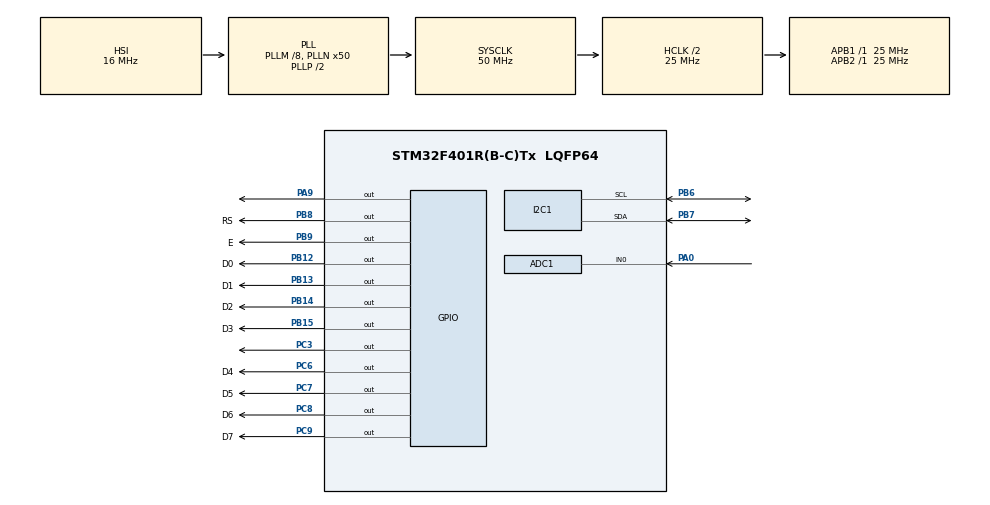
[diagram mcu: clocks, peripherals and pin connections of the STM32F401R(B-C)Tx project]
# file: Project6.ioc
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Mcu.Family=STM32F4
RCC.CortexFreq_Value=25000000
ADC1.Rank-0\#ChannelRegularConversion=1
PB9.GPIO_Label=E
PC9.GPIO_Label=D7
PB14.GPIO_Label=D2
PC8.Signal=GPIO_Output
PC6.Signal=GPIO_Output
PC6.GPIO_Label=D4
PB13.GPIO_Label=D1
PB15.Signal=GPIO_Output
PB13.Signal=GPIO_Output
RCC.SYSCLKSource=RCC_SYSCLKSOURCE_PLLCLK
ProjectManager.StackSize=0x400
PC3.PinState=GPIO_PIN_SET
PA0-WKUP.Signal=ADCx_IN0
PC8.GPIO_Label=D6
PB8.GPIO_Label=RS
ProjectManager.TargetToolchain=STM32CubeIDE
RCC.HCLKFreq_Value=25000000
RCC.APB2TimFreq_Value=25000000
PA9.Signal=GPIO_Output
PB6.Signal=I2C1_SCL
PC7.Signal=GPIO_Output
PB6.Mode=I2C
PC3.Signal=GPIO_Output
RCC.LSE_VALUE=32768
RCC.AHBFreq_Value=25000000
PB14.Signal=GPIO_Output
ADC1.Channel-0\#ChannelRegularConversion=ADC_CHANNEL_0
RCC.HSE_VALUE=25000000
board=custom
RCC.VCOOutputFreq_Value=100000000
PB12.GPIO_Label=D0
RCC.APB2Freq_Value=25000000
PB15.GPIO_Label=D3
PB7.Signal=I2C1_SDA
RCC.AHBCLKDivider=RCC_SYSCLK_DIV2
SH.ADCx_IN0.0=ADC1_IN0,IN0
Mcu.Name=STM32F401R(B-C)Tx
ADC1.SamplingTime-0\#ChannelRegularConversion=ADC_SAMPLETIME_3CYCLES
PC7.GPIO_Label=D5
RCC.48MHZClocksFreq_Value=25000000
RCC.SYSCLKFreq_VALUE=50000000
Mcu.Package=LQFP64
PB9.Signal=GPIO_Output
ADC1.master=1
PB7.Mode=I2C
ProjectManager.HeapSize=0x200
RCC.HSI_VALUE=16000000
NVIC.PriorityGroup=NVIC_PRIORITYGROUP_4
ADC1.NbrOfConversionFlag=1
RCC.PLLM=8
RCC.PLLN=50
RCC.APB1TimFreq_Value=25000000
PB8.Signal=GPIO_Output
PC9.Signal=GPIO_Output
RCC.APB1Freq_Value=25000000
PB12.Signal=GPIO_Output

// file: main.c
/* USER CODE BEGIN Header */
/**
  ******************************************************************************
  * @file           : main.c
  * @brief          : Main program body
  ******************************************************************************
  * @attention
  *
  * <h2><center>&copy; Copyright (c) 2021 STMicroelectronics.
  * All rights reserved.</center></h2>
  *
  * This software component is licensed by ST under BSD 3-Clause license,
  * the "License"; You may not use this file except in compliance with the
  * License. You may obtain a copy of the License at:
  *                        opensource.org/licenses/BSD-3-Clause
  *
  ******************************************************************************
  */
/* USER CODE END Header */
#include "main.h"

/* USER CODE BEGIN Includes */
#include "STM_MY_LCD16X2.h"
#include <math.h>
#include <stdint.h>
#include <stdio.h>
#include "stm32f4xx_hal.h"
//#include "STM_MY_LCD16X2.c"
/* USER CODE END Includes */

/* USER CODE BEGIN PD */
#define TC74_ADDRESS 0xA5
/* USER CODE END PD */

ADC_HandleTypeDef hadc1;

I2C_HandleTypeDef hi2c1;

/* USER CODE BEGIN PV */
uint16_t raw;
uint8_t i2cBuf[8];
double x;
double y;
unsigned char temp;
/* USER CODE END PV */

void SystemClock_Config(void);
static void MX_GPIO_Init(void);
static void MX_ADC1_Init(void);
static void MX_I2C1_Init(void);

int main(void)
{

  /* MCU Configuration--------------------------------------------------------*/

  /* Reset of all peripherals, Initializes the Flash interface and the Systick. */
  HAL_Init();

  /* USER CODE BEGIN Init */
  //1. Scan the I2C addresses
  	for(uint8_t i=0; i<255; i++)
  	{
  		if(HAL_I2C_IsDeviceReady(&hi2c1, i, 1, 10) == HAL_OK)
  		{
  			HAL_GPIO_TogglePin(GPIOD, GPIO_PIN_12);
  			break;
  		}
  	}
  /* USER CODE END Init */

  /* Configure the system clock */
  SystemClock_Config();

  /* Initialize all configured peripherals */
  MX_GPIO_Init();
  MX_ADC1_Init();
  MX_I2C1_Init();

  /* Infinite loop */
  /* USER CODE BEGIN WHILE */
  while (1)
  {
	  		//Request to read from a register
	  		i2cBuf[0] = 0x3B;			//Register address: X_axis H
	  		HAL_I2C_Master_Transmit(&hi2c1, TC74_ADDRESS, 0x00, 1, 10);
	  		//Read data
	  		i2cBuf[1] = 0x00;
	  		HAL_I2C_Master_Receive(&hi2c1, TC74_ADDRESS, &i2cBuf[1], 6, 10);
		  		LCD1602_Begin8BIT(RS_GPIO_Port, RS_Pin, E_Pin, D0_GPIO_Port, D0_Pin, D1_Pin, D2_Pin, D3_Pin, D4_GPIO_Port, D4_Pin, D5_Pin, D6_Pin, D7_Pin);
		  		LCD1602_PrintInt(i2cBuf[1]);
		  		LCD1602_2ndLine();
		  		LCD1602_PrintInt(i2cBuf[2]);
		  		HAL_Delay(200);
    /* USER CODE END WHILE */

  }
}

void SystemClock_Config(void)
{
  RCC_OscInitTypeDef RCC_OscInitStruct = {0};
  RCC_ClkInitTypeDef RCC_ClkInitStruct = {0};

  /** Configure the main internal regulator output voltage
  */
  __HAL_RCC_PWR_CLK_ENABLE();
  __HAL_PWR_VOLTAGESCALING_CONFIG(PWR_REGULATOR_VOLTAGE_SCALE2);
  /** Initializes the RCC Oscillators according to the specified parameters
  * in the RCC_OscInitTypeDef structure.
  */
  RCC_OscInitStruct.OscillatorType = RCC_OSCILLATORTYPE_HSI;
  RCC_OscInitStruct.HSIState = RCC_HSI_ON;
  RCC_OscInitStruct.HSICalibrationValue = RCC_HSICALIBRATION_DEFAULT;
  RCC_OscInitStruct.PLL.PLLState = RCC_PLL_ON;
  RCC_OscInitStruct.PLL.PLLSource = RCC_PLLSOURCE_HSI;
  RCC_OscInitStruct.PLL.PLLM = 8;
  RCC_OscInitStruct.PLL.PLLN = 50;
  RCC_OscInitStruct.PLL.PLLP = RCC_PLLP_DIV2;
  RCC_OscInitStruct.PLL.PLLQ = 4;
  if (HAL_RCC_OscConfig(&RCC_OscInitStruct) != HAL_OK)
  {
    Error_Handler();
  }
  /** Initializes the CPU, AHB and APB buses clocks
  */
  RCC_ClkInitStruct.ClockType = RCC_CLOCKTYPE_HCLK|RCC_CLOCKTYPE_SYSCLK
                              |RCC_CLOCKTYPE_PCLK1|RCC_CLOCKTYPE_PCLK2;
  RCC_ClkInitStruct.SYSCLKSource = RCC_SYSCLKSOURCE_PLLCLK;
  RCC_ClkInitStruct.AHBCLKDivider = RCC_SYSCLK_DIV2;
  RCC_ClkInitStruct.APB1CLKDivider = RCC_HCLK_DIV1;
  RCC_ClkInitStruct.APB2CLKDivider = RCC_HCLK_DIV1;

  if (HAL_RCC_ClockConfig(&RCC_ClkInitStruct, FLASH_LATENCY_0) != HAL_OK)
  {
    Error_Handler();
  }
}

static void MX_ADC1_Init(void)
{

  ADC_ChannelConfTypeDef sConfig = {0};

  /** Configure the global features of the ADC (Clock, Resolution, Data Alignment and number of conversion)
  */
  hadc1.Instance = ADC1;
  hadc1.Init.ClockPrescaler = ADC_CLOCK_SYNC_PCLK_DIV2;
  hadc1.Init.Resolution = ADC_RESOLUTION_12B;
  hadc1.Init.ScanConvMode = DISABLE;
  hadc1.Init.ContinuousConvMode = DISABLE;
  hadc1.Init.DiscontinuousConvMode = DISABLE;
  hadc1.Init.ExternalTrigConvEdge = ADC_EXTERNALTRIGCONVEDGE_NONE;
  hadc1.Init.ExternalTrigConv = ADC_SOFTWARE_START;
  hadc1.Init.DataAlign = ADC_DATAALIGN_RIGHT;
  hadc1.Init.NbrOfConversion = 1;
  hadc1.Init.DMAContinuousRequests = DISABLE;
  hadc1.Init.EOCSelection = ADC_EOC_SINGLE_CONV;
  if (HAL_ADC_Init(&hadc1) != HAL_OK)
  {
    Error_Handler();
  }
  /** Configure for the selected ADC regular channel its corresponding rank in the sequencer and its sample time.
  */
  sConfig.Channel = ADC_CHANNEL_0;
  sConfig.Rank = 1;
  sConfig.SamplingTime = ADC_SAMPLETIME_3CYCLES;
  if (HAL_ADC_ConfigChannel(&hadc1, &sConfig) != HAL_OK)
  {
    Error_Handler();
  }

}

static void MX_I2C1_Init(void)
{

  hi2c1.Instance = I2C1;
  hi2c1.Init.ClockSpeed = 100000;
  hi2c1.Init.DutyCycle = I2C_DUTYCYCLE_2;
  hi2c1.Init.OwnAddress1 = 0;
  hi2c1.Init.AddressingMode = I2C_ADDRESSINGMODE_7BIT;
  hi2c1.Init.DualAddressMode = I2C_DUALADDRESS_DISABLE;
  hi2c1.Init.OwnAddress2 = 0;
  hi2c1.Init.GeneralCallMode = I2C_GENERALCALL_DISABLE;
  hi2c1.Init.NoStretchMode = I2C_NOSTRETCH_DISABLE;
  if (HAL_I2C_Init(&hi2c1) != HAL_OK)
  {
    Error_Handler();
  }

}

static void MX_GPIO_Init(void)
{
  GPIO_InitTypeDef GPIO_InitStruct = {0};

  /* GPIO Ports Clock Enable */
  __HAL_RCC_GPIOC_CLK_ENABLE();
  __HAL_RCC_GPIOA_CLK_ENABLE();
  __HAL_RCC_GPIOB_CLK_ENABLE();

  /*Configure GPIO pin Output Level */
  HAL_GPIO_WritePin(GPIOC, GPIO_PIN_3, GPIO_PIN_SET);

  /*Configure GPIO pin Output Level */
  HAL_GPIO_WritePin(GPIOB, D0_Pin|D1_Pin|D2_Pin|D3_Pin
                          |RS_Pin|E_Pin, GPIO_PIN_RESET);

  /*Configure GPIO pin Output Level */
  HAL_GPIO_WritePin(GPIOC, D4_Pin|D5_Pin|D6_Pin|D7_Pin, GPIO_PIN_RESET);

  /*Configure GPIO pin Output Level */
  HAL_GPIO_WritePin(GPIOA, GPIO_PIN_9, GPIO_PIN_RESET);

  /*Configure GPIO pins : PC3 D4_Pin D5_Pin D6_Pin
                           D7_Pin */
  GPIO_InitStruct.Pin = GPIO_PIN_3|D4_Pin|D5_Pin|D6_Pin
                          |D7_Pin;
  GPIO_InitStruct.Mode = GPIO_MODE_OUTPUT_PP;
  GPIO_InitStruct.Pull = GPIO_NOPULL;
  GPIO_InitStruct.Speed = GPIO_SPEED_FREQ_LOW;
  HAL_GPIO_Init(GPIOC, &GPIO_InitStruct);

  /*Configure GPIO pins : D0_Pin D1_Pin D2_Pin D3_Pin
                           RS_Pin E_Pin */
  GPIO_InitStruct.Pin = D0_Pin|D1_Pin|D2_Pin|D3_Pin
                          |RS_Pin|E_Pin;
  GPIO_InitStruct.Mode = GPIO_MODE_OUTPUT_PP;
  GPIO_InitStruct.Pull = GPIO_NOPULL;
  GPIO_InitStruct.Speed = GPIO_SPEED_FREQ_LOW;
  HAL_GPIO_Init(GPIOB, &GPIO_InitStruct);

  /*Configure GPIO pin : PA9 */
  GPIO_InitStruct.Pin = GPIO_PIN_9;
  GPIO_InitStruct.Mode = GPIO_MODE_OUTPUT_PP;
  GPIO_InitStruct.Pull = GPIO_NOPULL;
  GPIO_InitStruct.Speed = GPIO_SPEED_FREQ_LOW;
  HAL_GPIO_Init(GPIOA, &GPIO_InitStruct);

}

void Error_Handler(void)
{
  __disable_irq();
  while (1)
  {
  }
}

/************************ (C) COPYRIGHT STMicroelectronics *****END OF FILE****/
